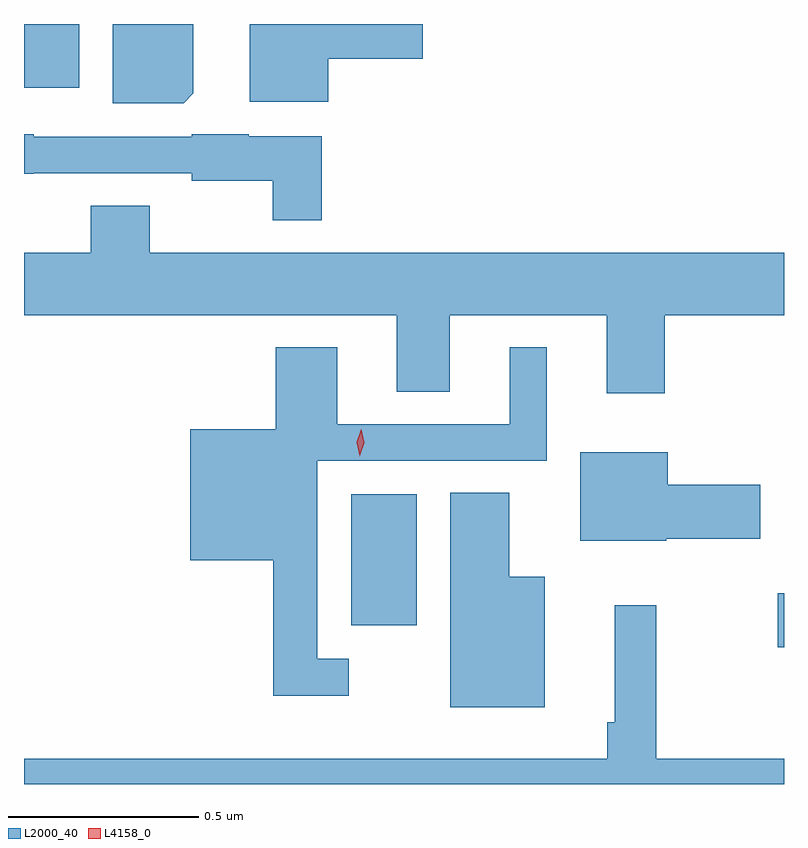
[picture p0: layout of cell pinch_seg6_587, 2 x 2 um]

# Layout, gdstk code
import gdstk
lib = gdstk.Library(unit=1e-6, precision=1e-09)
def R(c, l, rs):  # rectangles x0, y0, x1, y1
    for r in rs: c.add(gdstk.rectangle(r[:2], r[2:], *l))
def P(c, l, *ps):  # polygons
    for p in ps: c.add(gdstk.Polygon(p, *l))
L2000_40 = (2000, 40)
L4158_0 = (4158, 0)

pinch_seg6_587 = lib.new_cell('pinch_seg6_587')
R(pinch_seg6_587, L2000_40, [(587.358,965.11,587.374,965.252), (586.235,965.168,586.408,965.512), (585.374,966.582,585.52,966.75)])
P(pinch_seg6_587, L2000_40, [(586.174,966.659),(586.423,966.659),(586.423,966.75),(585.968,966.75),(585.968,966.545),(586.174,966.545)],
  [(585.82,966.568),(585.82,966.75),(585.608,966.75),(585.608,966.542),(585.794,966.542)],
  [(586.157,966.454),(585.966,966.454),(585.966,966.46),(585.816,966.46),(585.816,966.453),(585.399,966.453),(585.399,966.46),(585.374,966.46),(585.374,966.356),(585.399,966.356),(585.399,966.357),(585.816,966.357),(585.816,966.338),(586.029,966.338),(586.029,966.233),(586.157,966.233)],
  [(587.06,965.984),(587.374,965.984),(587.374,966.148),(585.705,966.148),(585.705,966.272),(585.55,966.272),(585.55,966.148),(585.374,966.148),(585.374,965.984),(586.355,965.984),(586.355,965.782),(586.495,965.782),(586.495,965.984),(586.907,965.984),(586.907,965.778),(587.06,965.778)],
  [(586.228,965.079),(586.146,965.079),(586.146,965.601),(586.75,965.601),(586.75,965.899),(586.652,965.899),(586.652,965.697),(586.198,965.697),(586.198,965.899),(586.037,965.899),(586.037,965.683),(585.812,965.683),(585.812,965.339),(586.03,965.339),(586.03,964.982),(586.228,964.982)],
  [(587.064,965.396),(587.311,965.396),(587.311,965.538),(587.068,965.538),(587.068,965.623),(586.838,965.623),(586.838,965.39),(587.064,965.39)],
  [(586.744,965.296),(586.651,965.296),(586.651,965.516),(586.496,965.516),(586.496,964.952),(586.744,964.952)],
  [(587.374,964.816),(587.038,964.816),(587.038,965.221),(586.928,965.221),(586.928,964.912),(586.909,964.912),(586.909,964.816),(585.374,964.816),(585.374,964.75),(587.374,964.75)])
P(pinch_seg6_587, L4158_0, [(586.258,965.613),(586.258,965.614),(586.25,965.649),(586.261,965.684),(586.261,965.684),(586.261,965.684),(586.269,965.648),(586.258,965.614)])

lib.write_gds('pinch_seg6_587.gds')
